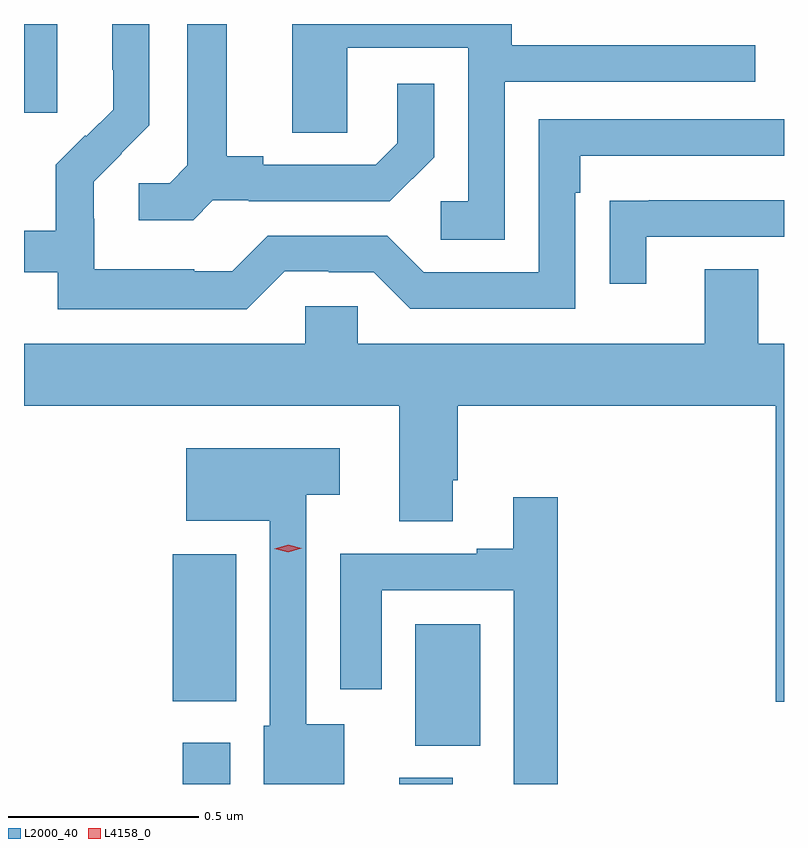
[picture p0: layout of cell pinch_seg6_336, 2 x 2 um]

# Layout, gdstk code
import gdstk
lib = gdstk.Library(unit=1e-6, precision=1e-09)
def R(c, l, rs):  # rectangles x0, y0, x1, y1
    for r in rs: c.add(gdstk.rectangle(r[:2], r[2:], *l))
def P(c, l, *ps):  # polygons
    for p in ps: c.add(gdstk.Polygon(p, *l))
L2000_40 = (2000, 40)
L4158_0 = (4158, 0)

pinch_seg6_336 = lib.new_cell('pinch_seg6_336')
R(pinch_seg6_336, L2000_40, [(717.929,982.305,718.054,982.414), (718.499,982.305,718.639,982.321), (718.541,982.406,718.711,982.726), (717.902,982.523,718.069,982.909), (717.511,984.072,717.598,984.305)])
P(pinch_seg6_336, L2000_40, [(718.197,983.655),(718.313,983.655),(718.313,983.652),(718.431,983.652),(718.527,983.556),(718.962,983.556),(718.962,983.861),(718.975,983.861),(718.975,983.958),(719.511,983.958),(719.511,984.054),(718.866,984.054),(718.866,983.652),(718.563,983.652),(718.467,983.748),(718.152,983.748),(718.059,983.655),(717.959,983.655),(717.959,983.659),(717.696,983.659),(717.696,983.793),(717.694,983.793),(717.694,983.89),(717.768,983.964),(717.767,983.965),(717.84,984.038),(717.84,984.305),(717.743,984.305),(717.743,984.184),(717.746,984.184),(717.746,984.08),(717.675,984.009),(717.672,984.012),(717.595,983.935),(717.595,983.761),(717.511,983.761),(717.511,983.652),(717.6,983.652),(717.6,983.555),(718.097,983.555)],
  [(718.008,983.841),(718.102,983.841),(718.102,983.838),(718.474,983.838),(718.59,983.954),(718.59,984.148),(718.493,984.148),(718.493,983.991),(718.436,983.934),(718.141,983.934),(718.141,983.957),(718.045,983.957),(718.045,984.305),(717.941,984.305),(717.941,983.933),(717.894,983.886),(717.813,983.886),(717.813,983.789),(717.956,983.789)],
  [(718.776,984.153),(719.435,984.153),(719.435,984.249),(718.795,984.249),(718.795,984.305),(718.217,984.305),(718.217,984.019),(718.362,984.019),(718.362,984.243),(718.68,984.243),(718.68,983.838),(718.608,983.838),(718.608,983.737),(718.776,983.737)],
  [(719.149,983.745),(719.511,983.745),(719.511,983.841),(719.155,983.841),(719.155,983.84),(719.053,983.84),(719.053,983.622),(719.149,983.622)],
  [(719.511,983.464),(719.443,983.464),(719.443,983.659),(719.303,983.659),(719.303,983.464),(718.389,983.464),(718.389,983.562),(718.251,983.562),(718.251,983.464),(717.511,983.464),(717.511,983.3),(718.499,983.3),(718.499,982.996),(718.639,982.996),(718.639,983.104),(718.652,983.104),(718.652,983.3),(719.489,983.3),(719.489,982.521),(719.511,982.521)],
  [(718.354,982.462),(718.254,982.462),(718.254,983.066),(718.342,983.066),(718.342,983.188),(717.938,983.188),(717.938,982.998),(718.158,982.998),(718.158,982.458),(718.142,982.458),(718.142,982.305),(718.354,982.305)],
  [(718.916,983.059),(718.799,983.059),(718.799,982.924),(718.703,982.924),(718.703,982.911),(718.343,982.911),(718.343,982.554),(718.453,982.554),(718.453,982.815),(718.8,982.815),(718.8,982.305),(718.916,982.305)])
P(pinch_seg6_336, L4158_0, [(718.206,982.915),(718.17,982.924),(718.17,982.924),(718.17,982.924),(718.206,982.935),(718.242,982.926),(718.242,982.926),(718.242,982.926)])

lib.write_gds('pinch_seg6_336.gds')
